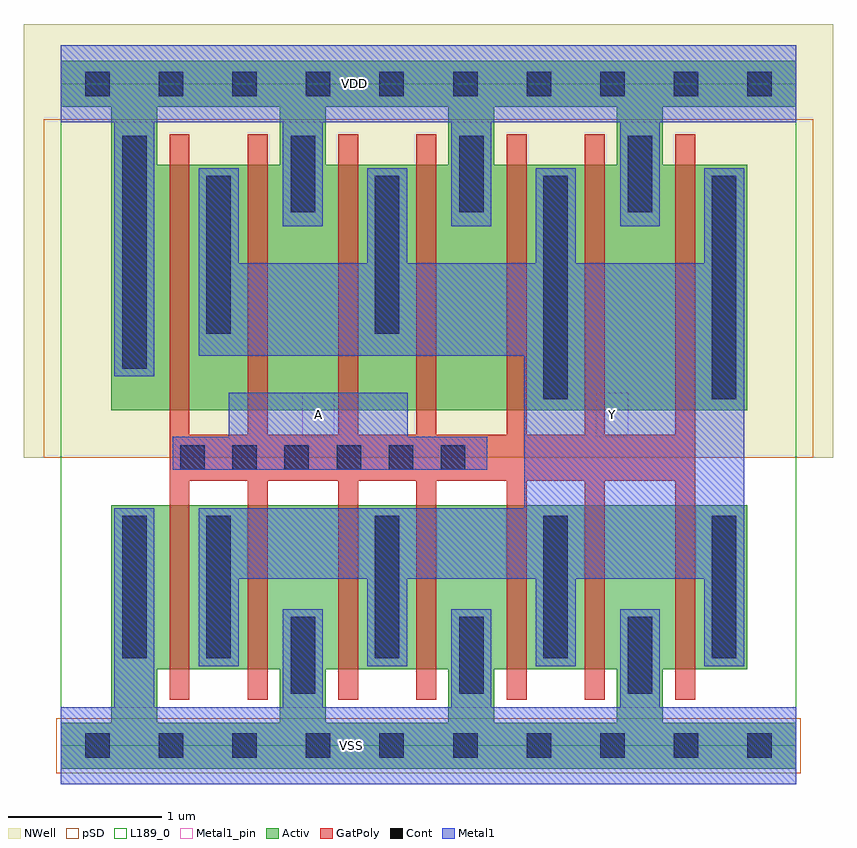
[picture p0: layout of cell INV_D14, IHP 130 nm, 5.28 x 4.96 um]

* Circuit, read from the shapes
.subckt INV_D14 A VDD VSS Y
XM1 Y A VSS VSS sg13_lv_nmos w=1.07u l=0.13u m=7
XM2 Y A VDD VDD sg13_lv_pmos w=1.6u l=0.13u m=7
.ends

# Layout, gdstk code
import gdstk
lib = gdstk.Library(unit=1e-6, precision=1e-09)
def R(c, l, rs):  # rectangles x0, y0, x1, y1
    for r in rs: c.add(gdstk.rectangle(r[:2], r[2:], *l))
def A(c, l, x, y, w, h, nx, ny, dx, dy):  # array of equal rectangles
    R(c, l, [(x+i*dx, y+j*dy, x+i*dx+w, y+j*dy+h) for i in range(nx) for j in range(ny)])
def P(c, l, *ps):  # polygons
    for p in ps: c.add(gdstk.Polygon(p, *l))
Activ = (1, 0)
GatPoly = (5, 0)
Cont = (6, 0)
Metal1 = (8, 0)
Metal1_pin = (8, 2)
pSD = (14, 0)
NWell = (31, 0)
L189_0 = (189, 0)

inv_d14 = lib.new_cell('INV_D14')
P(inv_d14, Activ, [(0.33,1.57),(0.33,0.15),(0.63,0.15),(0.63,0.5),(1.43,0.5),(1.43,0.15),(1.73,0.15),(1.73,0.5),(2.53,0.5),(2.53,0.15),(2.83,0.15),(2.83,0.5),(3.63,0.5),(3.63,0.15),(2.83,0.15),(2.53,0.15),(1.73,0.15),(1.43,0.15),(0.63,0.15),(0.33,0.15),(0,0.15),(0,-0.15),(4.8,-0.15),(4.8,0.15),(3.93,0.15),(3.93,0.5),(4.48,0.5),(4.48,1.57)],
  [(1.73,4.17),(1.43,4.17),(1.43,3.79),(0.63,3.79),(0.63,4.17),(0.33,4.17),(0.33,2.19),(4.48,2.19),(4.48,3.79),(3.93,3.79),(3.93,4.17),(4.8,4.17),(4.8,4.47),(0,4.47),(0,4.17),(2.53,4.17),(2.53,3.79),(2.83,3.79),(2.83,4.17),(3.63,4.17),(3.63,3.79),(2.83,3.79),(2.53,3.79),(1.73,3.79)])
P(inv_d14, GatPoly, [(2.91,0.3),(3.04,0.3),(3.04,1.73),(3.42,1.73),(3.42,0.3),(3.55,0.3),(3.55,1.73),(4.01,1.73),(4.01,0.3),(4.14,0.3),(4.14,3.99),(4.01,3.99),(4.01,2.03),(3.55,2.03),(3.55,3.99),(3.42,3.99),(3.42,2.03),(3.04,2.03),(3.04,3.99),(2.91,3.99),(2.91,2.03),(2.45,2.03),(2.45,3.99),(2.32,3.99),(2.32,2.03),(1.94,2.03),(1.94,3.99),(1.81,3.99),(1.81,2.03),(1.35,2.03),(1.35,3.99),(1.22,3.99),(1.22,2.03),(0.84,2.03),(0.84,3.99),(0.71,3.99),(0.71,0.3),(0.84,0.3),(0.84,1.73),(1.22,1.73),(1.22,0.3),(1.35,0.3),(1.35,1.73),(1.81,1.73),(1.81,0.3),(1.94,0.3),(1.94,1.73),(2.32,1.73),(2.32,0.3),(2.45,0.3),(2.45,1.73),(2.91,1.73)])
A(inv_d14, Cont, 0.16, -0.08, 0.16, 0.16, 10, 2, 0.48, 4.32)
A(inv_d14, Cont, 1.5, 0.34, 0.16, 0.5, 3, 2, 1.1, 3.14)
A(inv_d14, Cont, 0.95, 0.57, 0.16, 0.93, 4, 1, 1.1, 0)
A(inv_d14, Cont, 0.78, 1.8, 0.16, 0.16, 6, 1, 0.34, 0)
R(inv_d14, Cont, [(0.4,0.57,0.56,1.5), (3.15,2.26,3.31,3.72), (4.25,2.26,4.41,3.72), (0.4,2.46,0.56,3.98), (0.95,2.69,1.11,3.72), (2.05,2.69,2.21,3.72)])
R(inv_d14, Metal1, [(2.55,3.39,2.81,4.07)])
P(inv_d14, Metal1, [(0.61,2.41),(0.61,4.07),(1.45,4.07),(1.45,3.39),(1.71,3.39),(1.71,4.07),(3.65,4.07),(3.65,3.39),(3.91,3.39),(3.91,4.07),(4.8,4.07),(4.8,4.57),(0,4.57),(0,4.07),(0.35,4.07),(0.35,2.41)],
  [(3.36,3.15),(3.36,3.77),(3.1,3.77),(3.1,3.15),(2.26,3.15),(2.26,3.77),(2,3.77),(2,3.15),(1.16,3.15),(1.16,3.77),(0.9,3.77),(0.9,2.545),(3.025,2.545),(3.025,1.55),(0.9,1.55),(0.9,0.52),(1.16,0.52),(1.16,1.09),(2,1.09),(2,0.52),(2.26,0.52),(2.26,1.09),(3.1,1.09),(3.1,0.52),(3.36,0.52),(3.36,1.09),(4.2,1.09),(4.2,0.52),(4.46,0.52),(4.46,3.77),(4.2,3.77),(4.2,3.15)],
  [(1.095,2.015),(0.73,2.015),(0.73,1.8),(2.785,1.8),(2.785,2.015),(2.265,2.015),(2.265,2.305),(1.095,2.305)],
  [(0,-0.25),(4.8,-0.25),(4.8,0.25),(3.91,0.25),(3.91,0.89),(3.65,0.89),(3.65,0.25),(2.81,0.25),(2.81,0.89),(2.55,0.89),(2.55,0.25),(1.71,0.25),(1.71,0.89),(1.45,0.89),(1.45,0.25),(0.61,0.25),(0.61,1.55),(0.35,1.55),(0.35,0.25),(0,0.25)])
R(inv_d14, Metal1_pin, [(0,-0.25,4.8,0.25), (1.575,2.015,1.785,2.305), (3.495,2.015,3.705,2.305), (0,4.07,4.8,4.57)])
R(inv_d14, pSD, [(-0.03,-0.18,4.83,0.18), (-0.11,1.88,4.91,4.09)])
R(inv_d14, NWell, [(-0.24,1.88,5.04,4.71)])
R(inv_d14, L189_0, [(0,0,4.8,4.32)])
inv_d14.add(gdstk.Label('VDD', (1.915,4.32), layer=8, texttype=25))
inv_d14.add(gdstk.Label('Y', (3.6,2.16), layer=8, texttype=25))
inv_d14.add(gdstk.Label('A', (1.68,2.16), layer=8, texttype=25))
inv_d14.add(gdstk.Label('VSS', (1.9,0), layer=8, texttype=25))

lib.write_gds('INV_D14.gds')
